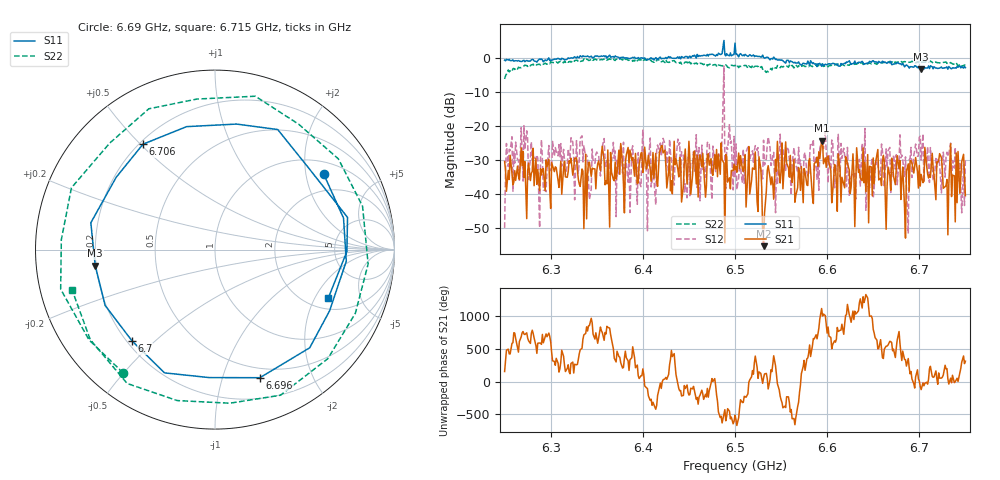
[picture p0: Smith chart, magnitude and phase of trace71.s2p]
# Hz S RI R 50
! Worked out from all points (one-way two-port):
!   401 points, 6.25 GHz to 6.75 GHz, reference 50 ohm
!   highest |S21| = -24.35 dB at 6.594 GHz (marker M1); lowest = -55.2 dB at 6.531 GHz (marker M2)
!   lowest |S11| = -3.4 dB at 6.702 GHz (marker M3), VSWR 5.12, Z = 9.8 - j3.22 ohm
!   |S11| at or under -10 dB: nowhere
!   |S22| runs from -6.2 to -0.2 dB; largest |S21 - S12| = 0.73
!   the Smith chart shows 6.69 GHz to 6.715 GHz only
!   S11 on the Smith chart (normalised r, x): 6.69 GHz: 1.38, +2.54; 6.696 GHz: 0.40, -1.33; 6.7 GHz: 0.22, -0.42; 6.706 GHz: 0.21, +0.51; 6.715 GHz: 2.51, -2.58
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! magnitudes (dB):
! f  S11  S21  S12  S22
! 6.25 GHz  -0.7  -30.4  -49.8  -6.2
! 6.255 GHz  -0.5  -35.7  -26.9  -4.2
! 6.294 GHz  -0.6  -39.0  -38.8  -1.6
! 6.334 GHz  0.2  -32.6  -22.9  -1.0
! 6.411 GHz  -0.2  -27.8  -28.4  -1.2
! 6.418 GHz  0.0  -27.7  -27.8  -0.9
! 6.476 GHz  0.9  -34.5  -25.9  -2.2
! 6.485 GHz  1.0  -25.0  -29.4  -2.4
! 6.5 GHz  4.3  -32.9  -34.9  -2.3
! 6.52 GHz  0.8  -32.5  -30.6  -2.8
! 6.531 GHz  0.0  -55.2  -24.2  -3.3
! 6.554 GHz  -1.4  -29.2  -31.4  -2.4
! 6.584 GHz  -1.7  -40.7  -25.6  -2.6
! 6.594 GHz  -2.5  -24.3  -24.3  -1.9
! 6.668 GHz  -1.6  -34.6  -26.3  -1.1
! 6.69 GHz  -2.7  -30.2  -29.4  -1.3
! 6.696 GHz  -2.4  -29.2  -25.3  -1.6
! 6.7 GHz  -3.3  -31.6  -23.3  -1.1
! 6.702 GHz  -3.4  -34.2  -30.0  -1.4
! 6.706 GHz  -3.0  -26.3  -28.0  -1.3
! 6.715 GHz  -3.3  -32.2  -35.9  -1.6
! 6.75 GHz  -2.9  -40.4  -29.5  -2.1
